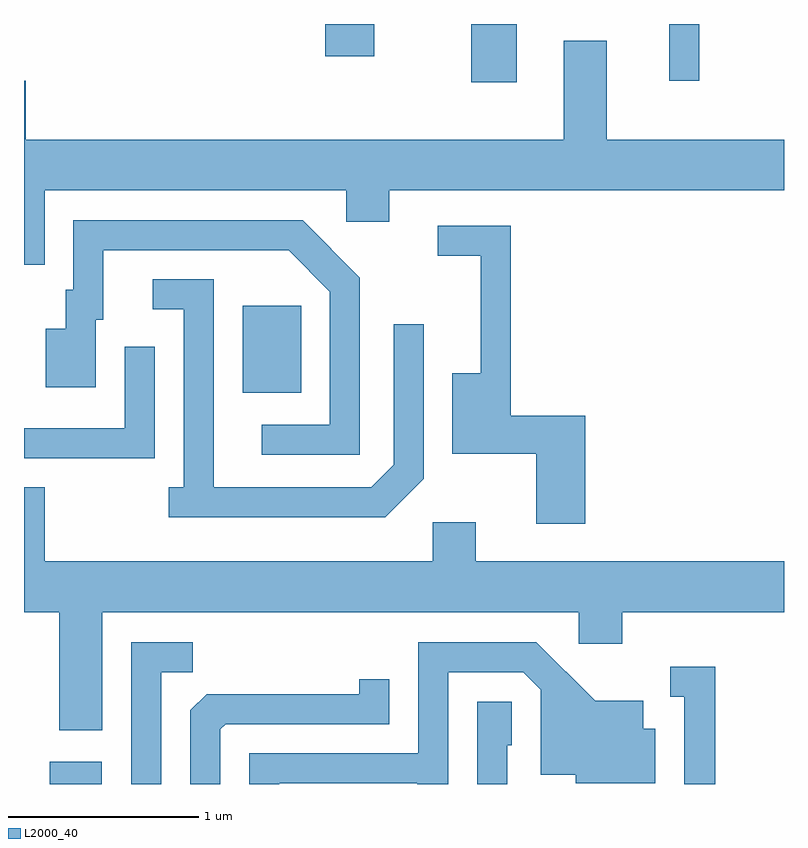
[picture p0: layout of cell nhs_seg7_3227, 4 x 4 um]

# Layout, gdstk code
import gdstk
lib = gdstk.Library(unit=1e-6, precision=1e-09)
def R(c, l, rs):  # rectangles x0, y0, x1, y1
    for r in rs: c.add(gdstk.rectangle(r[:2], r[2:], *l))
def P(c, l, *ps):  # polygons
    for p in ps: c.add(gdstk.Polygon(p, *l))
L2000_40 = (2000, 40)

nhs_seg7_3227 = lib.new_cell('nhs_seg7_3227')
R(nhs_seg7_3227, L2000_40, [(283.746,1762.252,284.019,1762.369), (284.761,1764.311,285.069,1764.769), (285.966,1765.946,286.204,1766.252), (287.006,1765.953,287.164,1766.252), (285.196,1766.081,285.454,1766.252)])
P(nhs_seg7_3227, L2000_40, [(283.719,1765.376),(285.306,1765.376),(285.306,1765.211),(285.534,1765.211),(285.534,1765.376),(287.611,1765.376),(287.611,1765.644),(286.679,1765.644),(286.679,1766.164),(286.451,1766.164),(286.451,1765.644),(283.619,1765.644),(283.619,1765.954),(283.611,1765.954),(283.611,1764.986),(283.719,1764.986)],
  [(285.379,1764.917),(285.077,1765.219),(283.871,1765.219),(283.871,1764.854),(283.831,1764.854),(283.831,1764.649),(283.726,1764.649),(283.726,1764.341),(283.989,1764.341),(283.989,1764.696),(284.029,1764.696),(284.029,1765.061),(285.004,1765.061),(285.221,1764.844),(285.221,1764.144),(284.863,1764.144),(284.863,1763.986),(285.379,1763.986)],
  [(286.564,1764.189),(286.174,1764.189),(286.174,1765.189),(285.788,1765.189),(285.788,1765.031),(286.016,1765.031),(286.016,1764.414),(285.866,1764.414),(285.866,1763.991),(286.306,1763.991),(286.306,1763.621),(286.564,1763.621)],
  [(285.714,1763.859),(285.714,1764.673),(285.556,1764.673),(285.556,1763.932),(285.439,1763.814),(284.609,1763.814),(284.609,1764.909),(284.288,1764.909),(284.288,1764.751),(284.451,1764.751),(284.451,1763.814),(284.373,1763.814),(284.373,1763.656),(285.512,1763.656)],
  [(284.299,1764.553),(284.141,1764.553),(284.141,1764.124),(283.611,1764.124),(283.611,1763.966),(284.299,1763.966)],
  [(284.024,1763.156),(286.531,1763.156),(286.531,1762.991),(286.759,1762.991),(286.759,1763.156),(287.611,1763.156),(287.611,1763.424),(285.989,1763.424),(285.989,1763.629),(285.761,1763.629),(285.761,1763.424),(283.719,1763.424),(283.719,1763.814),(283.611,1763.814),(283.611,1763.156),(283.796,1763.156),(283.796,1762.536),(284.024,1762.536)],
  [(284.954,1762.256),(285.681,1762.256),(285.681,1762.252),(285.844,1762.252),(285.844,1762.841),(286.239,1762.841),(286.331,1762.749),(286.331,1762.301),(286.516,1762.301),(286.516,1762.256),(286.934,1762.256),(286.934,1762.544),(286.869,1762.544),(286.869,1762.689),(286.617,1762.689),(286.307,1762.999),(285.686,1762.999),(285.686,1762.414),(284.796,1762.414),(284.796,1762.252),(284.954,1762.252)],
  [(284.334,1762.841),(284.498,1762.841),(284.498,1762.999),(284.176,1762.999),(284.176,1762.252),(284.334,1762.252)],
  [(287.249,1762.869),(287.013,1762.869),(287.013,1762.711),(287.086,1762.711),(287.086,1762.252),(287.249,1762.252)],
  [(284.644,1762.539),(284.672,1762.566),(285.534,1762.566),(285.534,1762.803),(285.376,1762.803),(285.376,1762.724),(284.572,1762.724),(284.486,1762.639),(284.486,1762.252),(284.644,1762.252)],
  [(286.154,1762.456),(286.179,1762.456),(286.179,1762.684),(285.996,1762.684),(285.996,1762.252),(286.154,1762.252)])

lib.write_gds('nhs_seg7_3227.gds')
